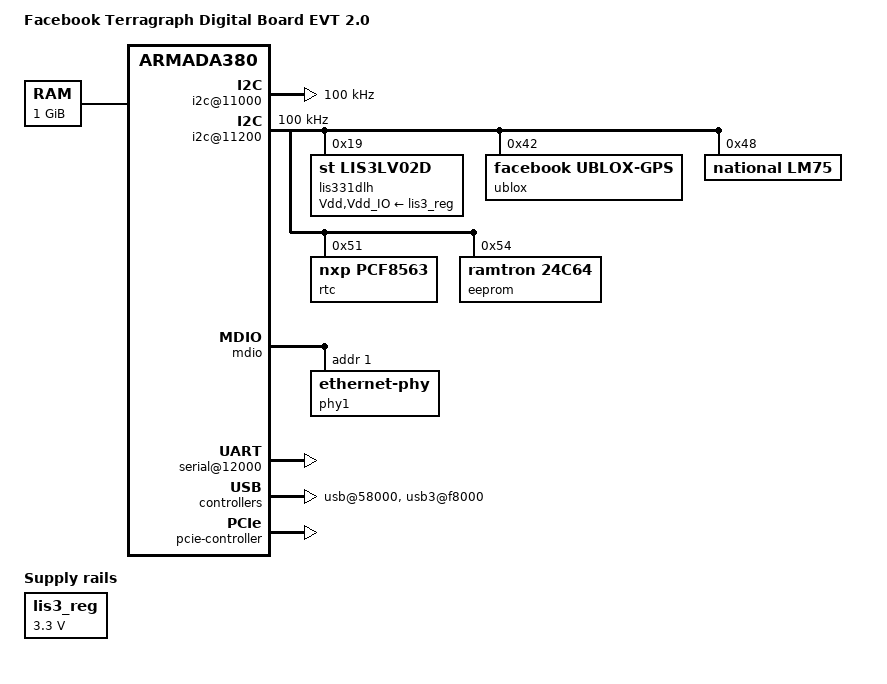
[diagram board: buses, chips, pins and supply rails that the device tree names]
/*
 * Device Tree file for Facebook Terragraph Digital Board EVT 2.0
 */

/dts-v1/;
/memreserve/ 0x00000000 0x00004000;  /* 16kB reserved for NSS/HW */

#include "armada-390.dtsi"

/ {
	model = "Facebook Terragraph Digital Board EVT 2.0";
	compatible = "marvell,a390-db", "marvell,armada390", "marvell,armada380";

	chosen {
		bootargs = "console=ttyS0,115200 earlyprintk";
	};

	memory {
		device_type = "memory";
		reg = <0x00000000 0x40000000>; /* 256 MB */
	};

	soc {
		ranges = <MBUS_ID(0xf0, 0x01) 0 0xf1000000 0x100000
			  MBUS_ID(0x01, 0x1d) 0 0xfff00000 0x100000
			  MBUS_ID(0x09, 0x19) 0 0xf1100000 0x10000	/* CESA0: PHYS=0xf1100000
									   size 64K - used for CPU Idel WA*/
			  MBUS_ID(0x09, 0x15) 0 0xf1110000 0x10000	/* CESA1: PHYS=0xf1110000 - used for CPU Idel WA */
			  MBUS_ID(NSS_TARGET_ID, NSS_REGS_ATTR)  0 0xf5000000 NSS_REGS_SIZE	/* nss window, 16M */
			  MBUS_ID(NSS_TARGET_ID, NSS_SPACE_ATTR) 0 0xD0000000 NSS_SPACE_SIZE>;	/* mac_nic window, (nss internal window) 128M */
		internal-regs {
			spi@10680 {
				status = "disabled";
				pinctrl-0 = <&spi1_pins>;
				pinctrl-names = "default";

				spi-flash@1 {
					#address-cells = <1>;
					#size-cells = <1>;
					compatible = "n25q128a13", "jedec,spi-nor";
					reg = <0>; /* Chip select 0 */
					spi-max-frequency = <108000000>;

					partition@0 {
						label = "U-Boot";
						reg = <0 0x400000>;
					};
					partition@400000 {
						label = "Filesystem";
						reg = <0x400000 0xc00000>;
					};
				};
			};

			lis3_reg: fixedregulator@1 {
				compatible = "regulator-fixed";
				regulator-name = "lis3_reg";
				regulator-min-microvolt = <3300000>;
				regulator-max-microvolt = <3300000>;
				regulator-boot-on;
			};

			i2c@11000 {
			  compatible = "marvell,mv78230-i2c";
				status = "okay";
				clock-frequency = <100000>;
			};

			i2c@11100 {
			  compatible = "marvell,mv78230-i2c";
				status = "disabled";
				clock-frequency = <100000>;
			};

			i2c@11200 {
			  compatible = "marvell,mv78230-i2c";
				status = "okay";
				clock-frequency = <100000>;

				lis331dlh: lis331dlh@18 {
					compatible = "st,lis3lv02d";
					reg = <0x19>;
					Vdd-supply = <&lis3_reg>;
					Vdd_IO-supply = <&lis3_reg>;

					st,click-single-x;
					st,click-single-y;
					st,click-single-z;
					st,click-thresh-x = <10>;
					st,click-thresh-y = <10>;
					st,click-thresh-z = <10>;
					st,irq1-click;
					st,irq2-click;
					st,wakeup-x-lo;
					st,wakeup-x-hi;
					st,wakeup-y-lo;
					st,wakeup-y-hi;
					st,wakeup-z-lo;
					st,wakeup-z-hi;
					st,min-limit-x = <120>;
					st,min-limit-y = <120>;
					st,min-limit-z = <140>;
					st,max-limit-x = <550>;
					st,max-limit-y = <550>;
					st,max-limit-z = <750>;
				};

				ublox@42 {
					compatible = "facebook,ublox-gps";
					reg = <0x42>;
				};

				lm75: lm75@48 {
					compatible = "national,lm75";
					reg = <0x48>;
				};

				rtc@51 {
					compatible = "nxp,pcf8563";
					reg = <0x51>;
					irq-gpio = <54>; //MPP54 as gpio for interrupt
				};

				eeprom@54 {
					compatible = "ramtron,24c64";
					reg = <0x54>;
					pagesize = <32>;
				};

			};

			i2c@11300 {
			  compatible = "marvell,mv78230-i2c";
				status = "disabled";
				clock-frequency = <100000>;
			};

			mdio {
				phy1: ethernet-phy@1 {
					reg = <1>;
				};
			};

			serial@12000 {
				status = "okay";
			};

			usb@58000 {
				status = "okay";
			};

			flash@d0000 {
                                status = "okay";
                                pinctrl-0 = <&nand_pins>;
                                pinctrl-names = "default";
                                num-cs = <1>;
                                marvell,nand-keep-config;
                                marvell,nand-enable-arbiter;
                                nand-on-flash-bbt;
                                nand-ecc-strength = <8>;
                                nand-ecc-step-size = <512>;

				mtd0@00000000 {
					label = "u-boot";
					reg = <0x00000000 0x00500000>;
					read-only;
				};

				mtd1@00500000 {
					label = "u-boot-env";
					reg = <0x00500000 0x00400000>;
				};

				mtd2@00a00000 {
					label = "kernel1";
					reg = <0x00a00000 0x04000000>;
				};

				mtd3@04a00000 {
					label = "rootfs1";
					reg = <0x04a00000 0x18000000>;
				};

				mtd4@1ca00000 {
					label = "kernel2";
					reg = <0x1ca00000 0x04000000>;
				};

				mtd5@20a00000 {
					label = "rootfs2";
					reg = <0x20a00000 0x18000000>;
				};

				mtd6@38a00000 {
					label = "data";
					reg = <0x38a00000 0x07600000>;
				};
			};

			sdhci@d8000 {
				clock-frequency = <200000000>;
				broken-cd;
				wp-inverted;
				bus-width = <8>;
				status = "disabled";
				no-1-8-v;
			};

			usb3@f8000 {
				status = "okay";
			};

		};

		nss_complex {
			status = "okay";
			pinctrl-0 = <&smi_nss_pins>;
			pinctrl-names="default";
		};

		gop {
			emac0: mac0 {
				phy-mode = "rxaui";
			};

			emac1: mac1 {
				phy-mode = "sgmii";
				phy-speed = <1000>;
				force-link = "no";
				phy = <&phy1>;
			};

			emac2: mac2 {
				phy-mode = "sgmii";
				phy-speed = <2500>;
				force-link = "yes";
			};

		};

		pp3_platform {
			status = "okay";

			/* use nic@N with <&emacX> if N!=X mapping required */
			/* nic0 - emac1  1.0GB */
			/* nic1 - emac2  2.5GB */
			/* nic2 - emac0  10 GB */
			nic@0 {
				status = "okay";
				emac-data = <&emac1>;
			};

			nic@1 {
				status = "okay";
				emac-data = <&emac2>;
			};

			nic@2 {
				status = "okay";
				emac-data = <&emac0>;
			};

			nss@0 {
				status = "okay";
			};
		};

		pcie-controller {
			status = "okay";
			/*
			 * The three PCIe units are accessible through
			 * standard PCIe slots on the board.
			 */
			pcie@1,0 {
				/* Port 0, Lane 0 */
				status = "okay";
			};
			pcie@2,0 {
				/* Port 1, Lane 0 */
				status = "okay";
			};
			pcie@3,0 {
				/* Port 2, Lane 0 */
				status = "disabled";
			};
			pcie@4,0 {
				/* Port 3, Lane 0 */
				status = "disabled";
			};
		};
	};
};
